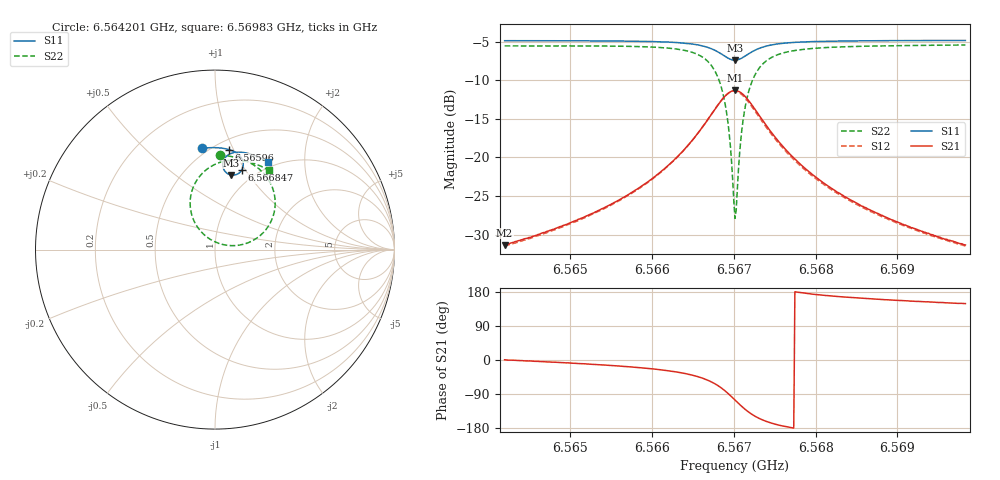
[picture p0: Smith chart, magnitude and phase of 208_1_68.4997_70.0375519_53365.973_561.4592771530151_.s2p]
#  HZ  S  RI  R  50.00
! Rohde & Schwarz Vector Network Analyzer
! Rohde-Schwarz,ZNB20-2Port,1311601062101988,3.16
! Created: UTC 3/20/2024, 4:57:54 PM
! freq[Hz]  re:S11  im:S11  re:S21  im:S21  re:S12  im:S12  re:S22  im:S22
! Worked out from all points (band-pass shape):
!   401 points, 6.564201 GHz to 6.56983 GHz, reference 50 ohm
!   highest |S21| = -11.35 dB at 6.567016 GHz (marker M1); lowest = -31.3 dB at 6.564201 GHz (marker M2)
!   |S21| within 3 dB of the highest: 6.566733 GHz to 6.567297 GHz (563.5 kHz wide, 0.00858 % of centre)
!   lowest |S11| = -7.4 dB at 6.567016 GHz (marker M3), VSWR 2.48, Z = 40.7 + j41.4 ohm
!   |S11| at or under -10 dB: nowhere
!   |S22| runs from -27.9 to -5.5 dB; largest |S21 - S12| = 0.013
!   S11 on the Smith chart (normalised r, x): 6.564201 GHz: 0.46, +0.77; 6.56596 GHz: 0.59, +0.96; 6.566847 GHz: 0.85, +0.96; 6.56983 GHz: 0.92, +1.33
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6.5642015e9  -0.0746 0.5641  0.0271 0.000268  0.0266 -0.000284  0.0254 0.5258
6.5651442e9  0.00209 0.568  0.0399 -0.00675  0.0392 -0.00738  0.1132 0.5141
6.5659603e9  0.0768 0.5574  0.0646 -0.0267  0.0637 -0.0274  0.2143 0.4722
6.5660869e9  0.0899 0.553  0.0713 -0.0336  0.0702 -0.0345  0.235 0.4578
6.5663965e9  0.1248 0.5345  0.0917 -0.065  0.0903 -0.0663  0.2937 0.396
6.5666216e9  0.1503 0.5043  0.1055 -0.1176  0.1028 -0.1198  0.3329 0.2944
6.5667482e9  0.1574 0.4739  0.0981 -0.1707  0.0938 -0.1738  0.3259 0.1933
6.5668467e9  0.1491 0.4435  0.0662 -0.223  0.059 -0.2256  0.2696 0.0953
6.5668889e9  0.1391 0.4308  0.0409 -0.2438  0.0319 -0.2456  0.2231 0.0576
6.5669312e9  0.1247 0.4207  0.00754 -0.2594  -0.00293 -0.2593  0.1623 0.0306
6.5669593e9  0.1131 0.4165  -0.0181 -0.2649  -0.0293 -0.2631  0.1158 0.0224
6.5670015e9  0.094 0.4152  -0.0594 -0.2638  -0.0705 -0.2592  0.0428 0.0285
6.5670156e9  0.0875 0.4161  -0.0729 -0.2608  -0.0838 -0.2551  0.0192 0.0354
6.5670437e9  0.0753 0.4204  -0.0988 -0.2505  -0.1089 -0.243  -0.025 0.0565
6.5670859e9  0.0598 0.4314  -0.1319 -0.2271  -0.1398 -0.2174  -0.0793 0.1019
6.5671281e9  0.0492 0.4459  -0.1555 -0.1974  -0.1607 -0.1868  -0.1156 0.1568
6.5671844e9  0.043 0.4669  -0.1719 -0.1559  -0.1739 -0.1455  -0.137 0.2313
6.5672548e9  0.0453 0.4901  -0.1743 -0.1102  -0.1737 -0.1014  -0.1327 0.3111
6.5675081e9  0.0836 0.5331  -0.1323 -0.0246  -0.1294 -0.0207  -0.0366 0.4539
6.5679583e9  0.1441 0.5427  -0.0771 0.00828  -0.0753 0.00937  0.0911 0.4985
6.568901e9  0.2303 0.5209  -0.0373 0.0145  -0.0364 0.0149  0.2209 0.4792
6.5698297e9  0.2981 0.4871  -0.0232 0.014  -0.0226 0.0141  0.3 0.4414
